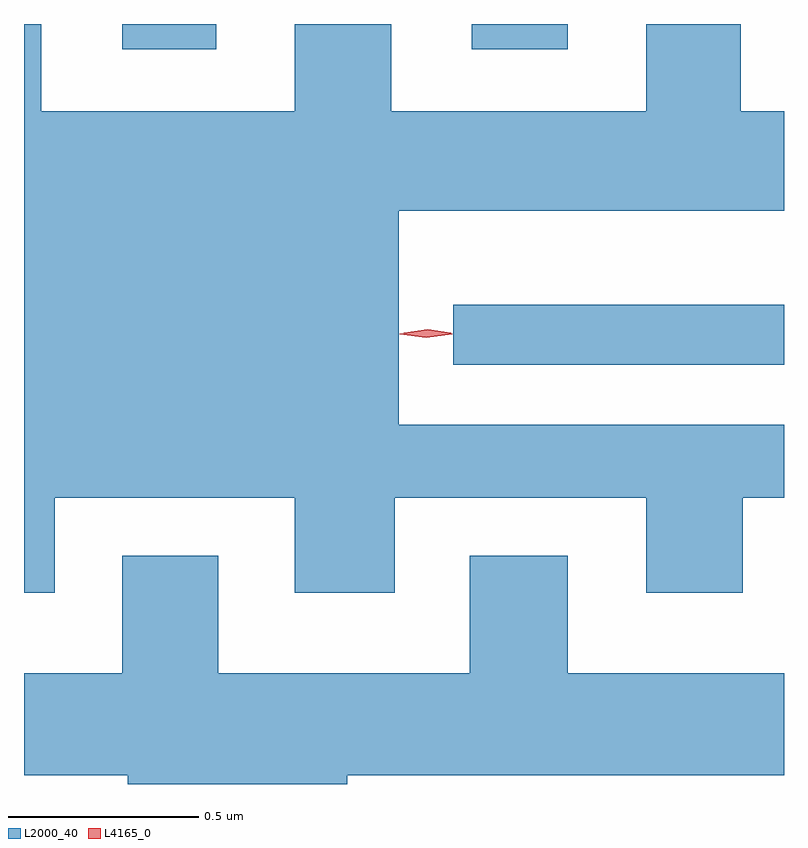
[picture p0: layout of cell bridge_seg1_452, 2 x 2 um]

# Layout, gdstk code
import gdstk
lib = gdstk.Library(unit=1e-6, precision=1e-09)
def R(c, l, rs):  # rectangles x0, y0, x1, y1
    for r in rs: c.add(gdstk.rectangle(r[:2], r[2:], *l))
def P(c, l, *ps):  # polygons
    for p in ps: c.add(gdstk.Polygon(p, *l))
L2000_40 = (2000, 40)
L4165_0 = (4165, 0)

bridge_seg1_452 = lib.new_cell('bridge_seg1_452')
R(bridge_seg1_452, L2000_40, [(323.453,847.376,324.323,847.534), (322.581,848.206,322.829,848.273), (323.501,848.206,323.754,848.273)])
P(bridge_seg1_452, L2000_40, [(322.404,847.026),(323.036,847.026),(323.036,846.776),(323.299,846.776),(323.299,847.026),(323.961,847.026),(323.961,846.776),(324.214,846.776),(324.214,847.026),(324.323,847.026),(324.323,847.219),(323.309,847.219),(323.309,847.781),(324.323,847.781),(324.323,848.044),(324.209,848.044),(324.209,848.273),(323.961,848.273),(323.961,848.044),(323.289,848.044),(323.289,848.273),(323.036,848.273),(323.036,848.044),(322.369,848.044),(322.369,848.273),(322.323,848.273),(322.323,846.776),(322.404,846.776)],
  [(323.174,846.296),(324.323,846.296),(324.323,846.564),(323.754,846.564),(323.754,846.874),(323.496,846.874),(323.496,846.564),(322.834,846.564),(322.834,846.874),(322.581,846.874),(322.581,846.564),(322.323,846.564),(322.323,846.296),(322.596,846.296),(322.596,846.273),(323.174,846.273)])
P(bridge_seg1_452, L4165_0, [(323.385,847.45),(323.323,847.459),(323.322,847.46),(323.323,847.46),(323.385,847.47),(323.446,847.46),(323.447,847.46),(323.446,847.459)],
  [(323.381,847.447),(323.312,847.457),(323.312,847.457),(323.312,847.458),(323.381,847.467),(323.45,847.458),(323.45,847.457),(323.45,847.457)])

lib.write_gds('bridge_seg1_452.gds')
